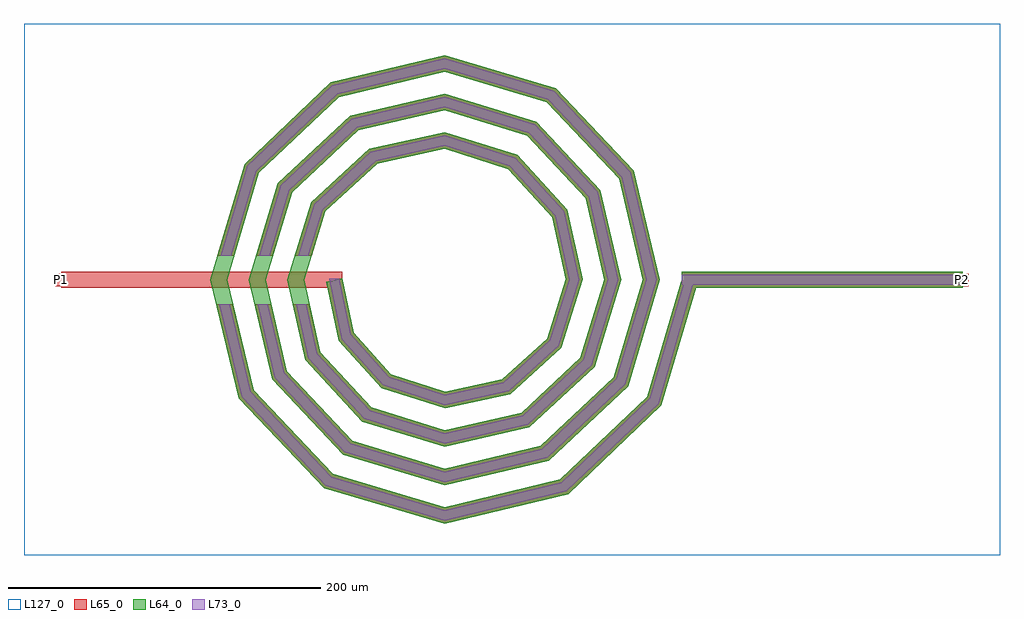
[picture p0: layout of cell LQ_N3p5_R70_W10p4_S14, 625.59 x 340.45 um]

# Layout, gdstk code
import gdstk
lib = gdstk.Library(unit=1e-6, precision=1e-09)
def R(c, l, rs):  # rectangles x0, y0, x1, y1
    for r in rs: c.add(gdstk.rectangle(r[:2], r[2:], *l))
def P(c, l, *ps):  # polygons
    for p in ps: c.add(gdstk.Polygon(p, *l))
L64_0 = (64, 0)
L65_0 = (65, 0)
L73_0 = (73, 0)
L127_0 = (127, 0)

lq_n3p5_r70_w10p4_s14 = lib.new_cell('LQ_N3p5_R70_W10p4_S14')
R(lq_n3p5_r70_w10p4_s14, L64_0, [(151.984,-5.2,331.984,5.2)])
P(lq_n3p5_r70_w10p4_s14, L64_0, [(-58.3,-33.987),(-34.531,-60.361),(0.268,-71.596),(37.052,-63.654),(65.693,-37.634),(77.765,0.248),(69.006,40.121),(40.734,71.027),(0.231,83.934),(-43.191,74.357),(-76.362,43.832),(-90.104,0.216),(-79.707,-46.264),(-46.929,-81.698),(0.203,-96.273),(49.337,-85.057),(87.035,-50.024),(102.443,0.192),(90.405,52.413),(53.118,92.373),(0.181,108.613),(-55.489,95.754),(-97.711,56.212),(-114.783,0.172),(-101.101,-58.566),(-59.304,-103.05),(0.163,-120.952),(61.644,-106.448),(108.389,-62.396),(127.122,0.156),(111.795,64.722),(65.487,113.729),(0.149,133.292),(-67.801,117.142),(-119.069,68.577),(-139.462,0.143),(-122.488,-70.881),(-71.667,-124.409),(0.137,-145.632),(73.961,-127.834),(129.75,-74.757),(152.195,1.469),(162.172,-1.469),(138.938,-80.37),(79.109,-137.291),(0.137,-156.396),(-77.29,-133.592),(-131.951,-76.019),(-150.226,0.143),(-128.246,74.21),(-72.929,126.61),(0.149,144.055),(71.13,122.899),(121.27,69.838),(137.885,0.156),(117.552,-68.051),(66.747,-115.93),(0.163,-131.715),(-64.973,-112.204),(-110.591,-63.654),(-125.545,0.172),(-106.856,61.895),(-60.561,105.251),(0.181,119.374),(58.819,101.508),(99.913,57.468),(113.204,0.192),(96.159,-55.743),(54.373,-94.575),(0.203,-107.034),(-52.668,-90.809),(-89.237,-51.277),(-100.863,0.216),(-85.458,49.595),(-48.179,83.901),(0.231,94.693),(46.523,80.107),(78.565,45.08),(88.522,0.248),(74.754,-43.453),(41.978,-73.23),(0.268,-82.351),(-40.386,-69.399),(-67.897,-38.873),(-75.891,-1.076),(-65.716,1.076)])
R(lq_n3p5_r70_w10p4_s14, L65_0, [(-245.604,-5.2,-65.604,5.2), (151.984,-5.2,331.984,5.2), (-249.604,-4,-241.604,4), (327.984,-4,335.984,4)])
P(lq_n3p5_r70_w10p4_s14, L65_0, [(-122.488,-70.881),(-71.668,-124.409),(0.137,-145.632),(73.961,-127.834),(129.75,-74.757),(152.196,1.469),(162.172,-1.469),(138.938,-80.37),(79.109,-137.291),(0.137,-156.396),(-77.29,-133.592),(-131.951,-76.019),(-146.448,-15.6),(-135.753,-15.6)],
  [(-101.101,-58.566),(-59.304,-103.05),(0.164,-120.952),(61.644,-106.448),(108.389,-62.396),(127.122,0.156),(111.795,64.722),(65.487,113.729),(0.149,133.292),(-67.801,117.142),(-119.069,68.577),(-134.79,15.6),(-145.638,15.6),(-128.246,74.21),(-72.929,126.61),(0.149,144.055),(71.13,122.899),(121.27,69.838),(137.885,0.156),(117.552,-68.051),(66.747,-115.93),(0.164,-131.715),(-64.973,-112.204),(-110.591,-63.654),(-121.85,-15.6),(-111.168,-15.6)],
  [(-79.707,-46.264),(-46.929,-81.698),(0.203,-96.273),(49.337,-85.057),(87.035,-50.024),(102.443,0.192),(90.405,52.413),(53.118,92.373),(0.181,108.613),(-55.489,95.754),(-97.711,56.212),(-110.007,15.6),(-120.873,15.6),(-106.856,61.895),(-60.562,105.252),(0.181,119.374),(58.819,101.508),(99.913,57.468),(113.204,0.192),(96.159,-55.743),(54.373,-94.575),(0.203,-107.034),(-52.668,-90.809),(-89.237,-51.277),(-97.292,-15.6),(-86.631,-15.6)],
  [(-34.531,-60.361),(0.268,-71.596),(37.052,-63.654),(65.693,-37.634),(77.765,0.248),(69.006,40.121),(40.734,71.027),(0.231,83.934),(-43.191,74.357),(-76.362,43.832),(-85.17,15.6),(-96.064,15.6),(-85.458,49.595),(-48.179,83.901),(0.231,94.693),(46.523,80.107),(78.565,45.08),(88.522,0.248),(74.754,-43.453),(41.978,-73.23),(0.268,-82.351),(-40.386,-69.399),(-67.897,-38.873),(-75.891,-1.076),(-65.716,1.076),(-58.3,-33.987)])
R(lq_n3p5_r70_w10p4_s14, L73_0, [(151.984,-3.2,331.984,3.2)])
P(lq_n3p5_r70_w10p4_s14, L73_0, [(-124.308,-71.869),(-72.749,-126.175),(0.084,-147.702),(74.951,-129.653),(131.517,-75.837),(154.114,0.904),(160.253,0.904),(137.171,-79.291),(78.119,-135.473),(0.084,-154.326),(-76.208,-131.826),(-130.131,-75.031),(-144.391,-15.6),(-137.81,-15.6)],
  [(-102.926,-59.545),(-60.394,-104.81),(0.101,-123.022),(62.625,-108.272),(110.151,-63.483),(129.192,0.096),(113.617,65.706),(66.572,115.492),(0.092,135.362),(-68.788,118.963),(-120.834,69.661),(-136.876,15.6),(-143.552,15.6),(-126.481,73.127),(-71.943,124.789),(0.092,141.986),(70.045,121.135),(119.448,68.854),(135.815,0.096),(115.79,-66.964),(65.765,-114.107),(0.101,-129.645),(-63.883,-110.444),(-108.766,-62.676),(-119.795,-15.6),(-113.222,-15.6)],
  [(-81.54,-47.228),(-48.033,-83.45),(0.125,-98.343),(50.306,-86.887),(88.79,-51.124),(104.513,0.118),(92.234,53.385),(54.215,94.129),(0.112,110.682),(-56.464,97.58),(-99.47,57.305),(-112.097,15.6),(-118.784,15.6),(-105.098,60.802),(-59.586,103.425),(0.112,117.305),(57.722,99.751),(98.085,56.496),(111.135,0.118),(94.404,-54.643),(53.405,-92.744),(0.125,-104.964),(-51.564,-89.057),(-87.405,-50.313),(-95.242,-15.6),(-88.681,-15.6)],
  [(-35.657,-62.099),(0.165,-73.664),(38,-65.496),(67.435,-38.753),(79.834,0.153),(70.844,41.074),(41.847,72.773),(0.142,86.003),(-44.15,76.193),(-78.111,44.94),(-87.265,15.6),(-93.969,15.6),(-83.709,48.487),(-47.22,82.065),(0.142,92.624),(45.41,78.361),(76.727,44.126),(86.453,0.153),(73.011,-42.334),(41.031,-71.389),(0.165,-80.283),(-39.26,-67.661),(-66.052,-37.934),(-73.934,0.662),(-67.673,0.662),(-60.146,-34.927)])
R(lq_n3p5_r70_w10p4_s14, L127_0, [(-269.604,-176.396,355.984,164.055)])
lq_n3p5_r70_w10p4_s14.add(gdstk.Label('P2', (331.984,0), layer=65, texttype=0))
lq_n3p5_r70_w10p4_s14.add(gdstk.Label('P1', (-245.604,0), layer=65, texttype=0))
lq_n3p5_r70_w10p4_s14.add(gdstk.Label('P2', (335.984,0), layer=145, texttype=0))
lq_n3p5_r70_w10p4_s14.add(gdstk.Label('P1', (-249.604,0), layer=145, texttype=0))

lib.write_gds('LQ_N3p5_R70_W10p4_S14.gds')
